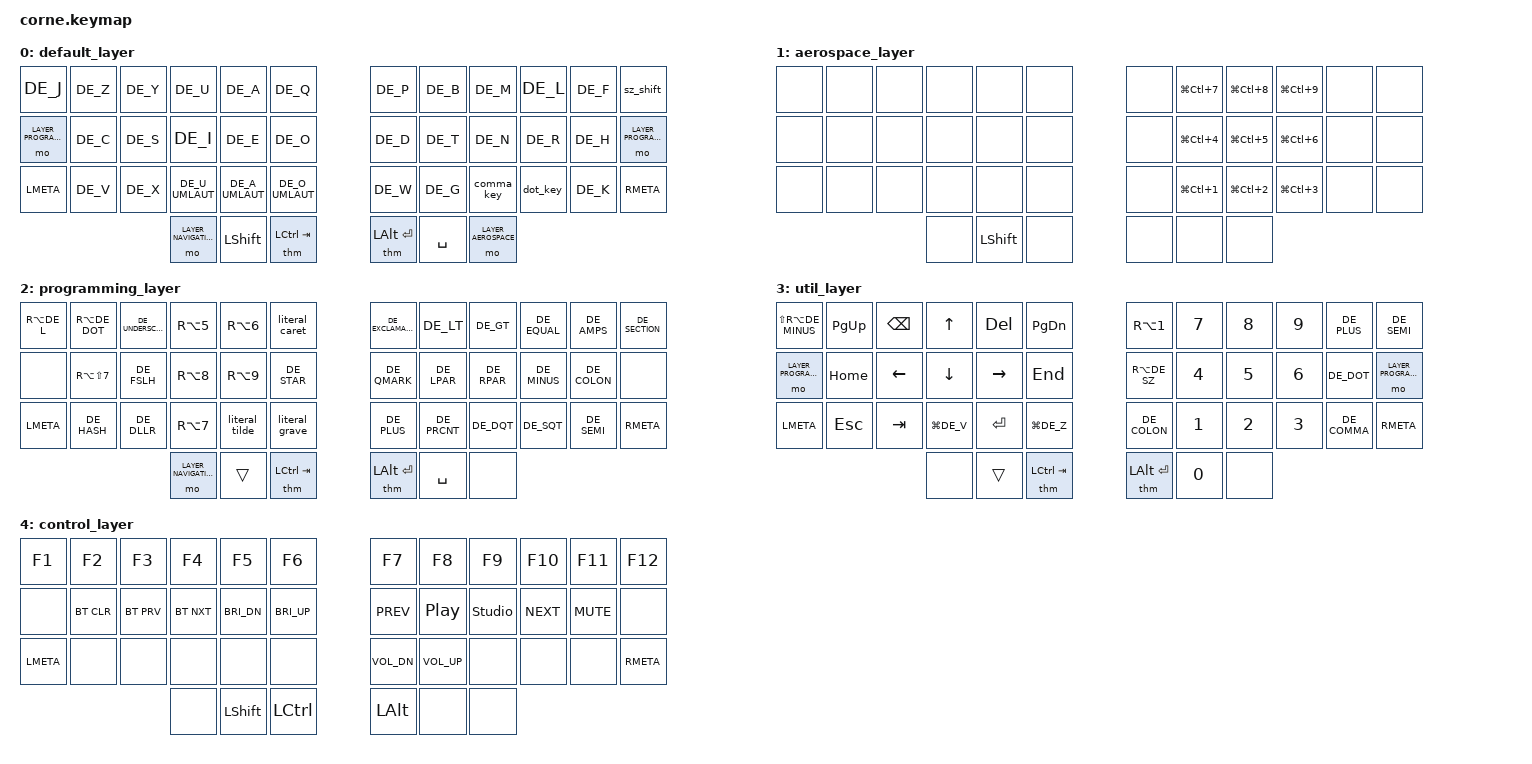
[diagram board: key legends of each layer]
/*
 * Copyright (c) 2020 The ZMK Contributors
 *
 * SPDX-License-Identifier: MIT
 */

#include <behaviors.dtsi>
#include <dt-bindings/zmk/keys.h>
#include <dt-bindings/zmk/bt.h>
#include "zmk-helpers/helper.h"
#include <locale/keys_de.h>

/* Layer numbers follow declaration order. */
#define LAYER_AEROSPACE   1
#define LAYER_PROGRAMMING 2
#define LAYER_NAVIGATION  3
#define LAYER_CONTROL     4

/* Standard macOS German input source, ISO keyboard type.
 * Option combinations differ from the generic German locale header.
 */
#define MAC_AT          RA(DE_L)
#define MAC_LBKT        RA(N5)
#define MAC_RBKT        RA(N6)
#define MAC_LBRC        RA(N8)
#define MAC_RBRC        RA(N9)
#define MAC_BACKSLASH   RA(LS(N7))
#define MAC_PIPE        RA(N7)
#define MAC_TILDE       RA(DE_N)
#define MAC_BULLET      RA(DE_U_UMLAUT)
#define MAC_EN_DASH     RA(DE_MINUS)
#define MAC_EM_DASH     LS(RA(DE_MINUS))
#define MAC_ELLIPSIS    RA(DE_DOT)
#define MAC_INV_EXCL    RA(N1)
#define MAC_INV_QUEST   RA(DE_SZ)

/* Native replacements: Shift+ß -> ¿, programming ſ -> §, navigation − -> —.
 * Shift-only punctuation masks Shift before sending the Option combination.
 */
ZMK_MOD_MORPH(sz_shift,
    bindings = <&kp DE_SZ>, <&kp MAC_INV_QUEST>;
    mods = <(MOD_LSFT | MOD_RSFT)>;
)

ZMK_MOD_MORPH(comma_shift,
    bindings = <&kp DE_COMMA>, <&kp MAC_EN_DASH>;
    mods = <(MOD_LSFT | MOD_RSFT)>;
)

ZMK_MOD_MORPH(dot_shift,
    bindings = <&kp DE_DOT>, <&kp MAC_BULLET>;
    mods = <(MOD_LSFT | MOD_RSFT)>;
)

/* Preserve ordinary punctuation in shortcuts, including Cmd+Shift+period.
 * These outer morphs bypass the Shift morph when Cmd or Ctrl is held.
 */
#define SHORTCUT_MODS (MOD_LGUI | MOD_RGUI | MOD_LCTL | MOD_RCTL)

ZMK_MOD_MORPH(comma_key,
    bindings = <&comma_shift>, <&kp DE_COMMA>;
    mods = <SHORTCUT_MODS>;
    keep-mods = <SHORTCUT_MODS>;
)

ZMK_MOD_MORPH(dot_key,
    bindings = <&dot_shift>, <&kp DE_DOT>;
    mods = <SHORTCUT_MODS>;
    keep-mods = <SHORTCUT_MODS>;
)

/* Finish dead keys with Space so programming symbols are emitted immediately.
 * Use these with Shift/Option released; additional held modifiers affect them.
 */
ZMK_MACRO(literal_caret,
    wait-ms = <10>;
    tap-ms = <10>;
    bindings = <&macro_tap &kp DE_CARET &kp SPACE>;
)

ZMK_MACRO(literal_tilde,
    wait-ms = <10>;
    tap-ms = <10>;
    bindings = <&macro_tap &kp MAC_TILDE &kp SPACE>;
)

ZMK_MACRO(literal_grave,
    wait-ms = <10>;
    tap-ms = <10>;
    bindings = <&macro_tap &kp DE_GRAVE &kp SPACE>;
)

/* Thumb hold-tap: tap = key, hold = modifier.
 * A non-modifier key pressed within the preceding 125 ms forces a tap.
 * Remove require-prior-idle if intentional Ctrl/Alt holds become Tab/Return.
 * Usage: &thm MODIFIER KEY  (e.g. &thm LCTRL TAB) */
ZMK_HOLD_TAP(thm,
    flavor = "balanced";
    tapping-term-ms = <200>;
    require-prior-idle-ms = <125>;
    bindings = <&kp>, <&kp>;
)

/* Tri-layer: holding M3 (layer 2) + M4 (layer 3) activates control layer (4) */
/ {
    conditional_layers {
        compatible = "zmk,conditional-layers";
        tri_layer {
            if-layers = <LAYER_PROGRAMMING LAYER_NAVIGATION>;
            then-layer = <LAYER_CONTROL>;
        };
    };
};

/* ─── Layer 0 — Default ─────────────────────────────────────────────────────
   J    Z    Y    U    A    Q  │  P    B    M    L    F    ß
   M3   C    S    I    E    O  │  D    T    N    R    H    M3
  Cmd   V    X    Ü    Ä    Ö  │  W    G    ,    .    K   Cmd
              M4  Sft  Ctl/Tab │ Alt/Ret  Spc  AS
─────────────────────────────────────────────────────────────────────────── */
ZMK_LAYER(default_layer,
  &kp DE_J               &kp DE_Z  &kp DE_Y  &kp DE_U              &kp DE_A         &kp DE_Q           &kp DE_P       &kp DE_B   &kp DE_M             &kp DE_L  &kp DE_F  &sz_shift
  &mo LAYER_PROGRAMMING  &kp DE_C  &kp DE_S  &kp DE_I              &kp DE_E         &kp DE_O           &kp DE_D       &kp DE_T   &kp DE_N             &kp DE_R  &kp DE_H  &mo LAYER_PROGRAMMING
  &kp LMETA              &kp DE_V  &kp DE_X  &kp DE_U_UMLAUT       &kp DE_A_UMLAUT  &kp DE_O_UMLAUT    &kp DE_W       &kp DE_G   &comma_key           &dot_key  &kp DE_K  &kp RMETA
                                             &mo LAYER_NAVIGATION  &kp LSHIFT       &thm LCTRL TAB     &thm LALT RET  &kp SPACE  &mo LAYER_AEROSPACE
)

/* ─── Layer 1 — AeroSpace (right outer thumb) ──────────────────────────────
   --   --   --   --   --   --  │  --    7    8    9   --   --
   --   --   --   --   --   --  │  --    4    5    6   --   --
   --   --   --   --   --   --  │  --    1    2    3   --   --
                     --  Shift  --  │  --   --   --
─────────────────────────────────────────────────────────────────────────── */
/* Each number sends Cmd+Ctrl+number. Hold Shift to move the focused window.
 * No transparent keys: the layer cannot leak text or activate another layer.
 */
ZMK_LAYER(aerospace_layer,
  &none  &none  &none  &none  &none       &none    &none  &kp LG(LC(N7))  &kp LG(LC(N8))  &kp LG(LC(N9))  &none  &none
  &none  &none  &none  &none  &none       &none    &none  &kp LG(LC(N4))  &kp LG(LC(N5))  &kp LG(LC(N6))  &none  &none
  &none  &none  &none  &none  &none       &none    &none  &kp LG(LC(N1))  &kp LG(LC(N2))  &kp LG(LC(N3))  &none  &none
                       &none  &kp LSHIFT  &none    &none  &none           &none
)

/* M3/M4 are programming/navigation; AS is AeroSpace.
 * AS is accessible from the base layer; higher layers block its thumb key.
 * M3/M4 labels indicate physical layer keys;
 * their own-layer bindings are blocked below.
 */

/* ─── Layer 2 — Programming (M3) ────────────────────────────────────────────
   @    …    _    [    ]    ^  │  !    <    >    =    &    §
   M3   \    /    {    }    *  │  ?    (    )    -    :    M3
  Cmd   #    $    |    ~    `  │  +    %    "    '    ;   Cmd
              M4  Sft Ctl/Tab  │ Alt/Ret  Spc  --
─────────────────────────────────────────────────────────────────────────── */
ZMK_LAYER(programming_layer,
  &kp MAC_AT  &kp MAC_ELLIPSIS   &kp DE_UNDERSCORE  &kp MAC_LBKT          &kp MAC_RBKT    &literal_caret    &kp DE_EXCLAMATION  &kp DE_LT     &kp DE_GT    &kp DE_EQUAL  &kp DE_AMPS   &kp DE_SECTION
  &none       &kp MAC_BACKSLASH  &kp DE_FSLH        &kp MAC_LBRC          &kp MAC_RBRC    &kp DE_STAR       &kp DE_QMARK        &kp DE_LPAR   &kp DE_RPAR  &kp DE_MINUS  &kp DE_COLON  &none
  &kp LMETA   &kp DE_HASH        &kp DE_DLLR        &kp MAC_PIPE          &literal_tilde  &literal_grave    &kp DE_PLUS         &kp DE_PRCNT  &kp DE_DQT   &kp DE_SQT    &kp DE_SEMI   &kp RMETA
                                                    &mo LAYER_NAVIGATION  &trans          &thm LCTRL TAB    &thm LALT RET       &kp SPACE     &none
)

/* ─── Layer 3 — Util / Nav+Num (M4) ─────────────────────────────────────────
   —   PgUp   ⌫    ↑    ⌦   PgDn │  ¡    7    8    9    +    ;
   M3  Home   ←    ↓    →   End  │  ¿    4    5    6    .    M3
  Cmd  Esc   Tab  Pst  Ret  Undo │  :    1    2    3    ,   Cmd
              M4  Sft Ctl/Tab    │ Alt/Ret   0   --
─────────────────────────────────────────────────────────────────────────── */
ZMK_LAYER(util_layer,
  &kp MAC_EM_DASH        &kp PAGE_UP  &kp BACKSPACE   &kp UP_ARROW    &kp DELETE       &kp PAGE_DOWN     &kp MAC_INV_EXCL   &kp N7  &kp N8  &kp N9  &kp DE_PLUS   &kp DE_SEMI
  &mo LAYER_PROGRAMMING  &kp HOME     &kp LEFT_ARROW  &kp DOWN_ARROW  &kp RIGHT_ARROW  &kp END           &kp MAC_INV_QUEST  &kp N4  &kp N5  &kp N6  &kp DE_DOT    &mo LAYER_PROGRAMMING
  &kp LMETA              &kp ESC      &kp TAB         &kp LG(DE_V)    &kp RET          &kp LG(DE_Z)      &kp DE_COLON       &kp N1  &kp N2  &kp N3  &kp DE_COMMA  &kp RMETA
                                                      &none           &trans           &thm LCTRL TAB    &thm LALT RET      &kp N0  &none
)

/* ─── Layer 4 — Control (M3 + M4) ───────────────────────────────────────────
   F1    F2     F3     F4      F5      F6  │ F7    F8     F9      F10    F11   F12
   --   BT clr BT prev BT next Bri-    Bri+ │ Prev  Play   Studio  Next   Mute  --
  Cmd    --     --     --      --      --  │ Vol-  Vol+   --      --     --   Cmd
                         --  Shift  Ctrl  │ Alt   --     --
─────────────────────────────────────────────────────────────────────────── */
/* M3/M4 positions remain blocked. Modifiers are explicit for F-key shortcuts.
 * Releases of held layer keys use their original press bindings.
 * Brightness support depends on the Mac/display.
 */
ZMK_LAYER(control_layer,
  &kp F1     &kp F2      &kp F3      &kp F4      &kp F5        &kp F6          &kp F7        &kp F8        &kp F9          &kp F10     &kp F11     &kp F12
  &none      &bt BT_CLR  &bt BT_PRV  &bt BT_NXT  &kp C_BRI_DN  &kp C_BRI_UP    &kp C_PREV    &kp C_PP      &studio_unlock  &kp C_NEXT  &kp C_MUTE  &none
  &kp LMETA  &none       &none       &none       &none         &none           &kp C_VOL_DN  &kp C_VOL_UP  &none           &none       &none       &kp RMETA
                                     &none       &kp LSHIFT    &kp LCTRL       &kp LALT      &none         &none
)
